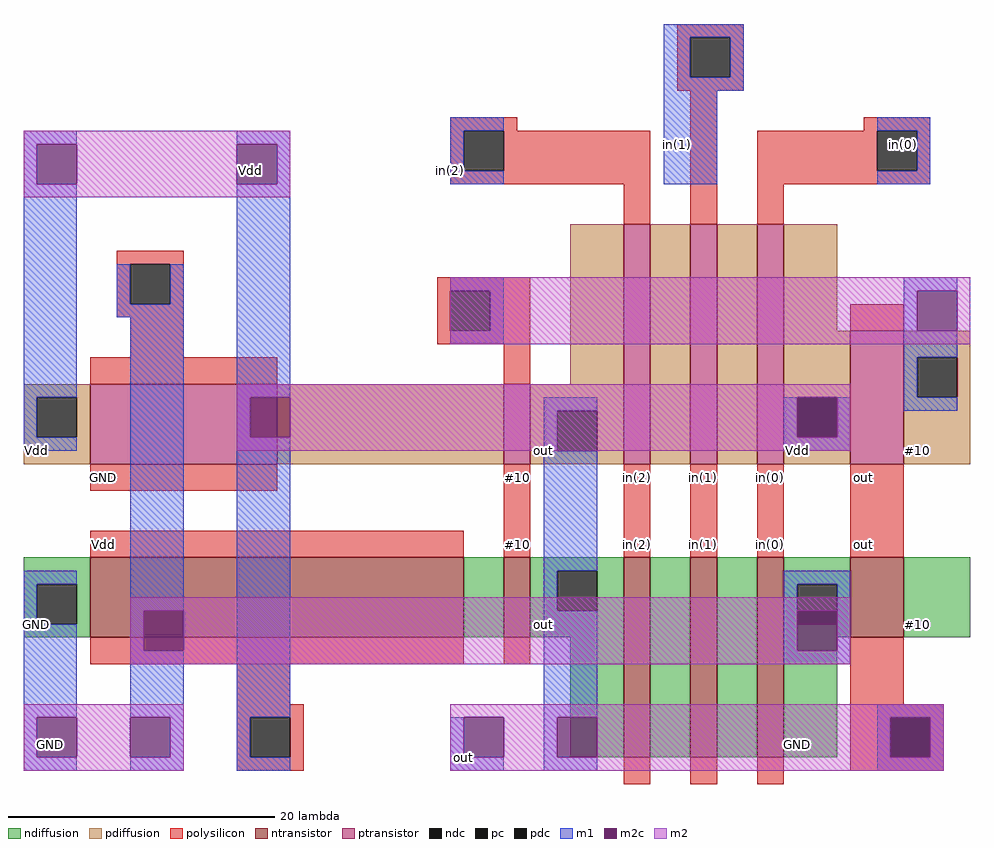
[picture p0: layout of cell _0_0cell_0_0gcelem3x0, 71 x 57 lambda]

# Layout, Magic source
magic
tech sky130l
<< ndiffusion >>
rect 8 18 13 20
rect 8 15 9 18
rect 12 15 13 18
rect 8 14 13 15
rect 41 14 44 20
rect 46 19 53 20
rect 46 16 48 19
rect 51 16 53 19
rect 46 14 53 16
rect 49 5 53 14
rect 55 5 58 20
rect 60 5 63 20
rect 65 18 70 20
rect 65 15 66 18
rect 69 15 70 18
rect 65 14 70 15
rect 74 14 79 20
rect 65 5 69 14
<< ndc >>
rect 9 15 12 18
rect 48 16 51 19
rect 66 15 69 18
<< ntransistor >>
rect 13 14 41 20
rect 44 14 46 20
rect 53 5 55 20
rect 58 5 60 20
rect 63 5 65 20
rect 70 14 74 20
<< pdiffusion >>
rect 49 33 53 45
rect 8 32 13 33
rect 8 29 9 32
rect 12 29 13 32
rect 8 27 13 29
rect 27 27 44 33
rect 46 31 53 33
rect 46 28 48 31
rect 51 28 53 31
rect 46 27 53 28
rect 55 27 58 45
rect 60 27 63 45
rect 65 37 69 45
rect 65 32 70 37
rect 65 29 66 32
rect 69 29 70 32
rect 65 27 70 29
rect 74 35 79 37
rect 74 32 75 35
rect 78 32 79 35
rect 74 27 79 32
<< pdc >>
rect 9 29 12 32
rect 48 28 51 31
rect 66 29 69 32
rect 75 32 78 35
<< ptransistor >>
rect 13 27 27 33
rect 44 27 46 33
rect 53 27 55 45
rect 58 27 60 45
rect 63 27 65 45
rect 70 27 74 37
<< polysilicon >>
rect 57 59 62 60
rect 57 56 58 59
rect 61 56 62 59
rect 57 55 62 56
rect 40 52 45 53
rect 40 49 41 52
rect 44 49 55 52
rect 40 48 55 49
rect 53 45 55 48
rect 58 45 60 55
rect 71 52 76 53
rect 63 49 72 52
rect 75 49 76 52
rect 63 48 76 49
rect 63 45 65 48
rect 15 42 20 43
rect 15 39 16 42
rect 19 39 20 42
rect 15 38 20 39
rect 16 35 20 38
rect 39 40 46 41
rect 39 37 40 40
rect 43 37 46 40
rect 39 36 46 37
rect 13 33 27 35
rect 44 33 46 36
rect 70 37 74 39
rect 13 25 27 27
rect 13 20 41 22
rect 44 20 46 27
rect 53 20 55 27
rect 58 20 60 27
rect 63 20 65 27
rect 70 20 74 27
rect 13 12 41 14
rect 44 12 46 14
rect 24 9 28 12
rect 24 8 29 9
rect 24 5 25 8
rect 28 5 29 8
rect 70 9 74 14
rect 70 8 77 9
rect 70 5 73 8
rect 76 5 77 8
rect 24 4 29 5
rect 53 3 55 5
rect 58 3 60 5
rect 63 3 65 5
rect 70 4 77 5
<< pc >>
rect 58 56 61 59
rect 41 49 44 52
rect 72 49 75 52
rect 16 39 19 42
rect 40 37 43 40
rect 25 5 28 8
rect 73 5 76 8
<< m1 >>
rect 56 59 62 60
rect 56 56 58 59
rect 61 56 62 59
rect 56 55 62 56
rect 40 52 44 53
rect 8 51 12 52
rect 8 48 9 51
rect 8 32 12 48
rect 24 51 28 52
rect 27 48 28 51
rect 40 49 41 52
rect 40 48 44 49
rect 56 48 60 55
rect 72 52 76 53
rect 75 49 76 52
rect 72 48 76 49
rect 15 39 16 42
rect 19 39 20 42
rect 15 38 20 39
rect 8 29 9 32
rect 8 28 12 29
rect 8 18 12 19
rect 8 15 9 18
rect 8 8 12 15
rect 8 5 9 8
rect 8 4 12 5
rect 16 16 20 38
rect 16 13 17 16
rect 16 8 20 13
rect 19 5 20 8
rect 16 4 20 5
rect 24 32 28 48
rect 40 40 44 41
rect 43 37 44 40
rect 40 36 44 37
rect 74 40 78 41
rect 74 37 75 40
rect 74 35 78 37
rect 74 32 75 35
rect 24 29 25 32
rect 24 8 28 29
rect 47 31 51 32
rect 47 28 48 31
rect 65 29 66 32
rect 69 29 70 32
rect 74 31 78 32
rect 65 28 70 29
rect 47 19 51 28
rect 47 16 48 19
rect 47 8 51 16
rect 65 18 70 19
rect 65 13 66 18
rect 69 13 70 18
rect 65 12 70 13
rect 24 5 25 8
rect 24 4 28 5
rect 40 5 41 8
rect 40 4 44 5
rect 47 5 48 8
rect 47 4 51 5
rect 72 8 77 9
rect 72 5 73 8
rect 76 5 77 8
rect 72 4 77 5
<< m2c >>
rect 9 48 12 51
rect 24 48 27 51
rect 9 5 12 8
rect 17 13 20 16
rect 16 5 19 8
rect 75 37 78 40
rect 25 29 28 32
rect 66 29 69 32
rect 66 15 69 16
rect 66 13 69 15
rect 41 5 44 8
rect 48 5 51 8
rect 73 5 76 8
<< m2 >>
rect 8 51 28 52
rect 8 48 9 51
rect 12 48 24 51
rect 27 48 28 51
rect 8 47 28 48
rect 40 40 79 41
rect 40 37 75 40
rect 78 37 79 40
rect 40 36 79 37
rect 24 32 70 33
rect 24 29 25 32
rect 28 29 66 32
rect 69 29 70 32
rect 24 28 70 29
rect 16 16 70 17
rect 16 13 17 16
rect 20 13 66 16
rect 69 13 70 16
rect 16 12 70 13
rect 8 8 20 9
rect 8 5 9 8
rect 12 5 16 8
rect 19 5 20 8
rect 8 4 20 5
rect 40 8 77 9
rect 40 5 41 8
rect 44 5 48 8
rect 51 5 73 8
rect 76 5 77 8
rect 40 4 77 5
<< labels >>
rlabel pdiffusion 75 28 75 28 3 #10
rlabel polysilicon 71 21 71 21 3 out
rlabel polysilicon 71 26 71 26 3 out
rlabel ndiffusion 75 15 75 15 3 #10
rlabel pdiffusion 66 28 66 28 3 Vdd
rlabel polysilicon 64 21 64 21 3 in(0)
rlabel polysilicon 64 26 64 26 3 in(0)
rlabel ndiffusion 66 6 66 6 3 GND
rlabel polysilicon 59 21 59 21 3 in(1)
rlabel polysilicon 59 26 59 26 3 in(1)
rlabel polysilicon 54 21 54 21 3 in(2)
rlabel polysilicon 54 26 54 26 3 in(2)
rlabel ndiffusion 47 15 47 15 3 out
rlabel pdiffusion 47 28 47 28 3 out
rlabel polysilicon 45 21 45 21 3 #10
rlabel polysilicon 45 26 45 26 3 #10
rlabel polysilicon 14 21 14 21 3 Vdd
rlabel polysilicon 14 26 14 26 3 GND
rlabel ndiffusion 9 15 9 15 3 GND
rlabel pdiffusion 9 28 9 28 3 Vdd
rlabel m2c 25 49 25 49 5 Vdd
rlabel m1 57 51 57 51 5 in(1)
rlabel pc 74 51 74 51 6 in(0)
rlabel m2c 10 6 10 6 2 GND
rlabel m2 41 5 41 5 1 out
rlabel m1 40 49 40 49 1 in(2)
<< end >>
